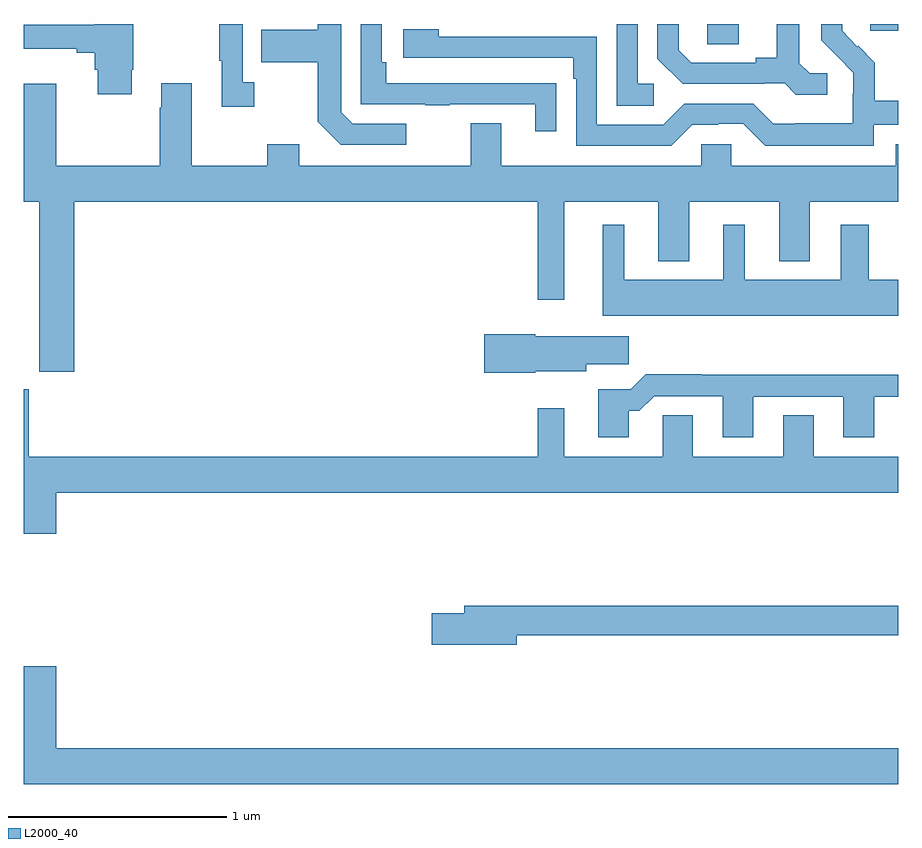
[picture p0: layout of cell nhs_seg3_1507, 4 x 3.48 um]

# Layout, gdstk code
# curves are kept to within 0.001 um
import gdstk
lib = gdstk.Library(unit=1e-6, precision=1e-09)
def R(c, l, rs):  # rectangles x0, y0, x1, y1
    for r in rs: c.add(gdstk.rectangle(r[:2], r[2:], *l))
def P(c, l, *ps):  # polygons
    for p in ps: c.add(gdstk.Polygon(p, *l))
L2000_40 = (2000, 40)

nhs_seg3_1507 = lib.new_cell('nhs_seg3_1507')
R(nhs_seg3_1507, L2000_40, [(192.126,696.307,192.271,696.4), (192.872,696.369,193,696.4)])
P(nhs_seg3_1507, L2000_40, [(190.054,696.134),(190.002,696.134),(190.002,696.4),(189.894,696.4),(189.894,696.233),(189.905,696.233),(189.905,696.021),(190.054,696.021)],
  [(190.75,695.943),(190.506,695.943),(190.452,695.997),(190.452,696.4),(190.344,696.4),(190.344,696.373),(190.087,696.373),(190.087,696.226),(190.344,696.226),(190.344,695.953),(190.449,695.847),(190.75,695.847)],
  [(189.493,696.19),(189.501,696.19),(189.501,696.4),(189.326,696.4),(189.326,696.397),(189,696.397),(189,696.287),(189.242,696.287),(189.242,696.268),(189.326,696.268),(189.326,696.191),(189.338,696.191),(189.338,696.078),(189.493,696.078)],
  [(192.676,696.174),(192.594,696.174),(192.547,696.221),(192.547,696.4),(192.443,696.4),(192.443,696.245),(192.347,696.245),(192.347,696.222),(192.052,696.222),(191.995,696.279),(191.995,696.4),(191.898,696.4),(191.898,696.242),(192.014,696.126),(192.386,696.126),(192.386,696.129),(192.48,696.129),(192.532,696.077),(192.676,696.077)],
  [(191.881,696.126),(191.808,696.126),(191.808,696.4),(191.712,696.4),(191.712,696.025),(191.881,696.025)],
  [(191.435,696.128),(191.333,696.128),(191.333,696.129),(190.658,696.129),(190.658,696.226),(190.638,696.226),(190.638,696.4),(190.542,696.4),(190.542,696.033),(190.837,696.033),(190.837,696.028),(190.949,696.028),(190.949,696.033),(191.339,696.033),(191.339,695.91),(191.435,695.91)],
  [(192.888,695.94),(193,695.94),(193,696.049),(192.893,696.049),(192.893,696.223),(192.816,696.3),(192.813,696.297),(192.743,696.368),(192.743,696.4),(192.648,696.4),(192.648,696.326),(192.794,696.178),(192.794,696.081),(192.792,696.081),(192.792,695.947),(192.529,695.947),(192.529,695.943),(192.429,695.943),(192.336,696.036),(192.021,696.036),(191.925,695.94),(191.622,695.94),(191.622,696.342),(190.898,696.342),(190.898,696.376),(190.737,696.376),(190.737,696.246),(191.513,696.246),(191.513,696.149),(191.526,696.149),(191.526,695.844),(191.961,695.844),(192.057,695.94),(192.176,695.94),(192.176,695.943),(192.291,695.943),(192.391,695.843),(192.888,695.843)],
  [(189.23,695.588),(191.352,695.588),(191.352,695.139),(191.473,695.139),(191.473,695.588),(191.903,695.588),(191.903,695.315),(192.043,695.315),(192.043,695.588),(192.455,695.588),(192.455,695.315),(192.595,695.315),(192.595,695.588),(193,695.588),(193,695.851),(192.989,695.851),(192.989,695.752),(192.237,695.752),(192.237,695.85),(192.099,695.85),(192.099,695.752),(191.185,695.752),(191.185,695.947),(191.045,695.947),(191.045,695.752),(190.261,695.752),(190.261,695.851),(190.114,695.851),(190.114,695.752),(189.769,695.752),(189.769,696.13),(189.629,696.13),(189.629,696.017),(189.622,696.017),(189.622,695.752),(189.148,695.752),(189.148,696.127),(189,696.127),(189,695.588),(189.07,695.588),(189.07,694.809),(189.23,694.809)],
  [(193,695.23),(192.865,695.23),(192.865,695.482),(192.737,695.482),(192.737,695.23),(192.298,695.23),(192.298,695.482),(192.2,695.482),(192.2,695.23),(191.746,695.23),(191.746,695.482),(191.648,695.482),(191.648,695.066),(193,695.066)],
  [(191.34,694.811),(191.572,694.811),(191.572,694.843),(191.767,694.843),(191.767,694.972),(191.34,694.972),(191.34,694.982),(191.106,694.982),(191.106,694.804),(191.34,694.804)],
  [(191.767,694.631),(191.816,694.631),(191.883,694.698),(192.197,694.698),(192.197,694.509),(192.337,694.509),(192.337,694.695),(192.749,694.695),(192.749,694.509),(192.889,694.509),(192.889,694.695),(193,694.695),(193,694.796),(192.101,694.796),(192.101,694.799),(191.846,694.799),(191.776,694.729),(191.627,694.729),(191.627,694.509),(191.767,694.509)],
  [(189.148,694.256),(193,694.256),(193,694.42),(192.613,694.42),(192.613,694.61),(192.473,694.61),(192.473,694.42),(192.061,694.42),(192.061,694.61),(191.922,694.61),(191.922,694.42),(191.473,694.42),(191.473,694.642),(191.352,694.642),(191.352,694.42),(189.022,694.42),(189.022,694.729),(189,694.729),(189,694.068),(189.148,694.068)],
  [(191.254,693.604),(193,693.604),(193,693.74),(191.015,693.74),(191.015,693.704),(190.866,693.704),(190.866,693.562),(191.254,693.562)],
  [(193,693.088),(189.148,693.088),(189.148,693.463),(189,693.463),(189,692.924),(193,692.924)])

lib.write_gds('nhs_seg3_1507.gds')
